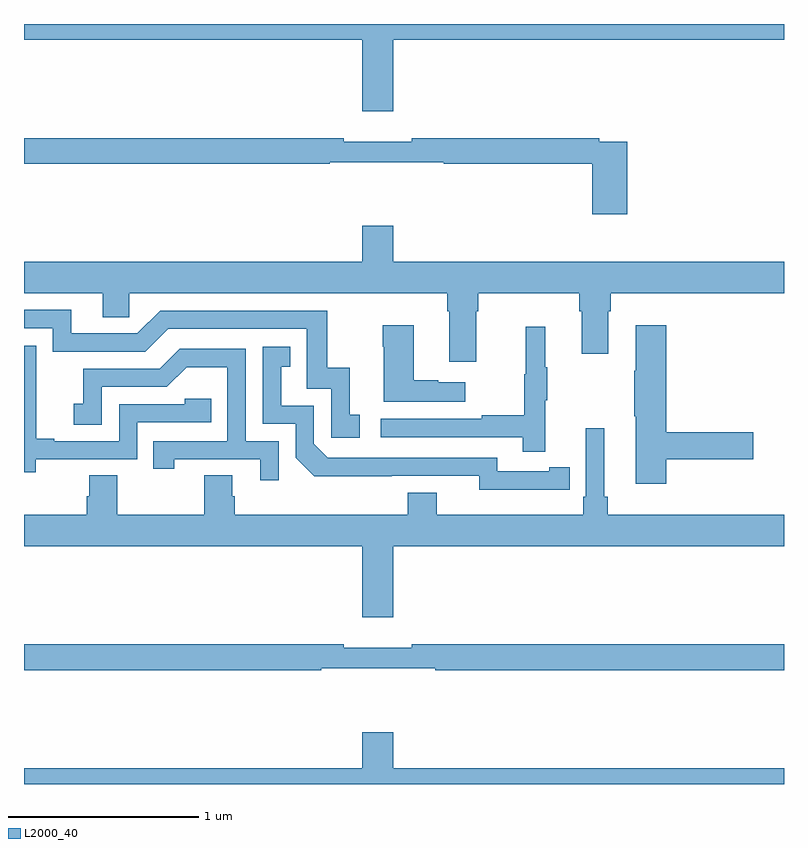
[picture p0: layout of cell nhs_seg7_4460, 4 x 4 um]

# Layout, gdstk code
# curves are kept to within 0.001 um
import gdstk
lib = gdstk.Library(unit=1e-6, precision=1e-09)
def P(c, l, *ps):  # polygons
    for p in ps: c.add(gdstk.Polygon(p, *l))
L2000_40 = (2000, 40)

nhs_seg7_4460 = lib.new_cell('nhs_seg7_4460')
P(nhs_seg7_4460, L2000_40, [(392.944,1033.916),(395,1033.916),(395,1034),(391,1034),(391,1033.916),(392.78,1033.916),(392.78,1033.542),(392.944,1033.542)],
  [(394.175,1033.38),(394.028,1033.38),(394.028,1033.4),(393.04,1033.4),(393.04,1033.381),(392.684,1033.381),(392.684,1033.4),(391,1033.4),(391,1033.264),(392.608,1033.264),(392.608,1033.272),(393.208,1033.272),(393.208,1033.264),(393.992,1033.264),(393.992,1032.999),(394.175,1032.999)],
  [(393.379,1032.488),(393.392,1032.488),(393.392,1032.584),(393.923,1032.584),(393.923,1032.488),(393.935,1032.488),(393.935,1032.264),(394.075,1032.264),(394.075,1032.488),(394.088,1032.488),(394.088,1032.584),(395,1032.584),(395,1032.748),(392.944,1032.748),(392.944,1032.937),(392.78,1032.937),(392.78,1032.748),(391,1032.748),(391,1032.584),(391.415,1032.584),(391.415,1032.457),(391.554,1032.457),(391.554,1032.584),(393.227,1032.584),(393.227,1032.488),(393.239,1032.488),(393.239,1032.222),(393.379,1032.222)],
  [(392.767,1031.943),(392.714,1031.943),(392.714,1032.19),(392.596,1032.19),(392.596,1032.492),(391.716,1032.492),(391.596,1032.372),(391.249,1032.372),(391.249,1032.495),(391,1032.495),(391,1032.399),(391.152,1032.399),(391.152,1032.276),(391.638,1032.276),(391.758,1032.396),(392.487,1032.396),(392.487,1032.081),(392.616,1032.081),(392.616,1031.823),(392.767,1031.823)],
  [(393.322,1032.115),(393.179,1032.115),(393.179,1032.125),(393.052,1032.125),(393.052,1032.415),(392.887,1032.415),(392.887,1032.302),(392.894,1032.302),(392.894,1032.011),(393.322,1032.011)],
  [(394.379,1031.71),(394.837,1031.71),(394.837,1031.852),(394.379,1031.852),(394.379,1032.415),(394.22,1032.415),(394.22,1032.176),(394.213,1032.176),(394.213,1031.935),(394.22,1031.935),(394.22,1031.58),(394.379,1031.58)],
  [(393.743,1032.019),(393.754,1032.019),(393.754,1032.193),(393.743,1032.193),(393.743,1032.406),(393.64,1032.406),(393.64,1032.156),(393.633,1032.156),(393.633,1031.942),(393.409,1031.942),(393.409,1031.922),(392.877,1031.922),(392.877,1031.826),(393.625,1031.826),(393.625,1031.748),(393.743,1031.748)],
  [(391.062,1031.709),(391.596,1031.709),(391.596,1031.904),(391.985,1031.904),(391.985,1032.027),(391.845,1032.027),(391.845,1032),(391.5,1032),(391.5,1031.805),(391.159,1031.805),(391.159,1031.818),(391.064,1031.818),(391.064,1032.101),(391.065,1032.101),(391.065,1032.307),(391,1032.307),(391,1031.641),(391.062,1031.641)],
  [(393.764,1031.55),(393.872,1031.55),(393.872,1031.666),(393.764,1031.666),(393.764,1031.646),(393.492,1031.646),(393.492,1031.718),(392.598,1031.718),(392.526,1031.79),(392.526,1031.991),(392.353,1031.991),(392.353,1032.195),(392.402,1032.195),(392.402,1032.301),(392.256,1032.301),(392.256,1031.895),(392.43,1031.895),(392.43,1031.718),(392.528,1031.621),(393.396,1031.622),(393.396,1031.549)],
  [(392.34,1031.805),(392.166,1031.805),(392.166,1032.291),(391.82,1032.291),(391.715,1032.186),(391.312,1032.186),(391.312,1032.001),(391.263,1032.001),(391.263,1031.892),(391.41,1031.892),(391.41,1032.09),(391.752,1032.09),(391.856,1032.194),(392.07,1032.194),(392.07,1031.805),(391.681,1031.805),(391.681,1031.658),(391.792,1031.658),(391.792,1031.709),(392.243,1031.709),(392.243,1031.598),(392.34,1031.598)],
  [(391.948,1031.624),(391.948,1031.416),(391.491,1031.416),(391.491,1031.624),(391.343,1031.624),(391.343,1031.514),(391.331,1031.514),(391.331,1031.416),(391,1031.416),(391,1031.252),(392.78,1031.252),(392.78,1030.878),(392.944,1030.878),(392.944,1031.252),(395,1031.252),(395,1031.416),(394.073,1031.416),(394.073,1031.512),(394.054,1031.512),(394.054,1031.872),(393.957,1031.872),(393.957,1031.512),(393.944,1031.512),(393.944,1031.416),(393.172,1031.416),(393.172,1031.533),(393.02,1031.533),(393.02,1031.416),(392.108,1031.416),(392.108,1031.514),(392.095,1031.514),(392.095,1031.624)],
  [(392.564,1030.608),(393.164,1030.608),(393.164,1030.6),(395,1030.6),(395,1030.736),(393.04,1030.736),(393.04,1030.717),(392.684,1030.717),(392.684,1030.736),(391,1030.736),(391,1030.6),(392.564,1030.6)],
  [(395,1030.084),(392.944,1030.084),(392.944,1030.273),(392.78,1030.273),(392.78,1030.084),(391,1030.084),(391,1030),(395,1030)])

lib.write_gds('nhs_seg7_4460.gds')
